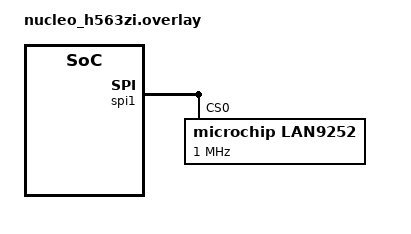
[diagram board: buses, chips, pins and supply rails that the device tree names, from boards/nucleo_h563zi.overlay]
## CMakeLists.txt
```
# Copyright (c) 2026 Richard Osterloh
# SPDX-License-Identifier: Apache-2.0

cmake_minimum_required(VERSION 3.20.0)
find_package(Zephyr REQUIRED HINTS $ENV{ZEPHYR_BASE})
project(lan9252_sample)

target_sources(app PRIVATE src/main.c)
```

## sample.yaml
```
sample:
  name: LAN9252 EtherCAT SubDevice controller
  description: Basic Microchip LAN9252 SPI driver bring-up sample
common:
  tags:
    - drivers
    - ethercat
    - spi
tests:
  sample.drivers.ethercat.lan9252:
    build_only: true
    # Skipped in workspaces (such as this repo's CI) that do not carry hal_stm32.
    modules:
      - hal_stm32
    platform_allow:
      - nucleo_h563zi
    integration_platforms:
      - nucleo_h563zi
```

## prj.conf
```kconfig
CONFIG_LOG=y
CONFIG_SPI=y
CONFIG_LAN9252=y
```

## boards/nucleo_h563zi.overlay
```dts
/*
 * Copyright (c) 2026 Richard Osterloh
 * SPDX-License-Identifier: Apache-2.0
 */

/ {
	aliases {
		lan9252-0 = &lan9252;
	};
};

/*
 * LAN9252 on the Nucleo-H563ZI Arduino SPI header.
 *
 * SPI1 pins come from the board common DTS:
 *   SCK  = PA5  (D13)
 *   MISO = PG9  (D12)
 *   MOSI = PB5  (D11)
 *   CS   = PD14 (D10, active-low)
 */
&spi1 {
	lan9252: lan9252@0 {
		compatible = "microchip,lan9252";
		reg = <0>;
		spi-max-frequency = <1000000>;
		init-timeout-ms = <100>;
	};
};
```

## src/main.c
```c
/*
 * Copyright (c) 2026 Richard Osterloh
 * SPDX-License-Identifier: Apache-2.0
 */

#include <zephyr/device.h>
#include <zephyr/drivers/ethercat/lan9252.h>
#include <zephyr/kernel.h>
#include <zephyr/logging/log.h>

LOG_MODULE_REGISTER(lan9252_sample, LOG_LEVEL_INF);

#define LAN9252_NODE DT_ALIAS(lan9252_0)

#if !DT_NODE_HAS_STATUS(LAN9252_NODE, okay)
#error "This sample requires a LAN9252 devicetree node with alias lan9252-0"
#endif

int main(void)
{
	const struct device *dev = DEVICE_DT_GET(LAN9252_NODE);
	struct lan9252_id id;
	uint32_t byte_test;
	uint32_t hw_cfg;
	int ret;

	if (!device_is_ready(dev)) {
		LOG_ERR("%s is not ready", dev->name);
		return 0;
	}

	ret = lan9252_get_id(dev, &id);
	if (ret != 0) {
		LOG_ERR("failed to read ID_REV: %d", ret);
		return 0;
	}

	ret = lan9252_read_reg(dev, LAN9252_REG_BYTE_TEST, &byte_test);
	if (ret != 0) {
		LOG_ERR("failed to read BYTE_TEST: %d", ret);
		return 0;
	}

	ret = lan9252_read_reg(dev, LAN9252_REG_HW_CFG, &hw_cfg);
	if (ret != 0) {
		LOG_ERR("failed to read HW_CFG: %d", ret);
		return 0;
	}

	LOG_INF("LAN9252 chip=0x%04x revision=0x%04x", id.chip_id, id.revision);
	LOG_INF("BYTE_TEST=0x%08x HW_CFG=0x%08x", byte_test, hw_cfg);

	return 0;
}
```
